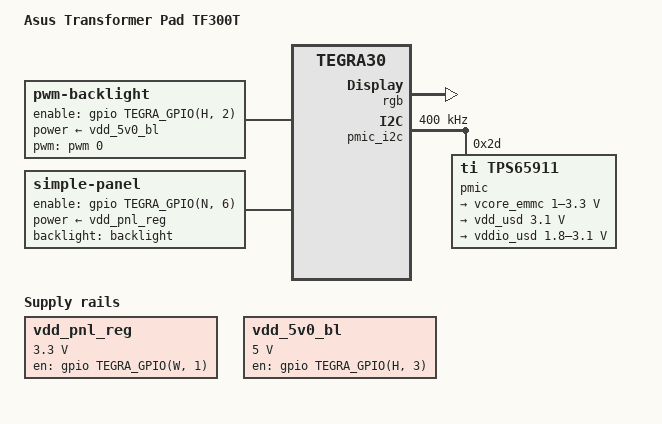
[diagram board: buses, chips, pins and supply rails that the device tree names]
// SPDX-License-Identifier: GPL-2.0-or-later
/dts-v1/;

#include <dt-bindings/input/gpio-keys.h>
#include <dt-bindings/input/linux-event-codes.h>

#include "tegra30-asus-transformer.dtsi"

/ {
	model = "Asus Transformer Pad TF300T";

	host1x@50000000 {
		status = "okay";
		dc@54200000 {
			status = "okay";
			rgb {
				status = "okay";

				nvidia,panel = <&panel>;

				display-timings {
					timing@0 {
						/* 1280x800@60Hz */
						clock-frequency = <68000000>;
						hactive = <1280>;
						vactive = <800>;
						hfront-porch = <48>;
						hback-porch = <18>;
						hsync-len = <30>;
						vsync-len = <5>;
						vfront-porch = <3>;
						vback-porch = <12>;
						hsync-active = <1>;
					};
				};
			};
		};
	};

	pmic_i2c: i2c@7000d000 {
		status = "okay";
		clock-frequency = <400000>;

		/* Texas Instruments TPS659110 PMIC */
		pmic: tps65911@2d {
			compatible = "ti,tps65911";
			reg = <0x2d>;

			interrupts = <GIC_SPI 86 IRQ_TYPE_LEVEL_HIGH>;
			#interrupt-cells = <2>;
			interrupt-controller;

			ti,system-power-controller;

			#gpio-cells = <2>;
			gpio-controller;

			regulators {
				/* eMMC VDD */
				vcore_emmc: ldo1 {
					regulator-name = "vdd_emmc_core";
					regulator-min-microvolt = <1000000>;
					regulator-max-microvolt = <3300000>;
					regulator-always-on;
				};

				/* uSD slot VDD */
				vdd_usd: ldo2 {
					regulator-name = "vdd_usd";
					regulator-min-microvolt = <3100000>;
					regulator-max-microvolt = <3100000>;
				};

				/* uSD slot VDDIO */
				vddio_usd: ldo3 {
					regulator-name = "vddio_usd";
					regulator-min-microvolt = <1800000>;
					regulator-max-microvolt = <3100000>;
				};
			};
		};
	};

	backlight: backlight {
		compatible = "pwm-backlight";

		enable-gpios = <&gpio TEGRA_GPIO(H, 2) GPIO_ACTIVE_HIGH>;
		power-supply = <&vdd_5v0_bl>;
		pwms = <&pwm 0 4000000>;

		brightness-levels = <0 4 8 16 32 64 128 255>;
		default-brightness-level = <6>;
	};

	gpio-keyboard {
		compatible = "gpio-kbd";

		power {
			label = "Power";
			gpios = <&gpio TEGRA_GPIO(V, 0) GPIO_ACTIVE_LOW>;
			linux,code = <KEY_ENTER>;
		};

		volume-up {
			label = "Volume Up";
			gpios = <&gpio TEGRA_GPIO(Q, 2) GPIO_ACTIVE_LOW>;
			linux,code = <KEY_UP>;
		};

		volume-down {
			label = "Volume Down";
			gpios = <&gpio TEGRA_GPIO(Q, 3) GPIO_ACTIVE_LOW>;
			linux,code = <KEY_DOWN>;
		};
	};

	panel: panel {
		compatible = "simple-panel";

		power-supply = <&vdd_pnl_reg>;
		enable-gpios = <&gpio TEGRA_GPIO(N, 6) GPIO_ACTIVE_HIGH>;

		backlight = <&backlight>;
	};

	regulators {
		compatible = "simple-bus";
		#address-cells = <1>;
		#size-cells = <0>;

		vdd_pnl_reg: regulator@0 {
			compatible = "regulator-fixed";
			reg = <0>;
			regulator-name = "vdd_panel";
			regulator-min-microvolt = <3300000>;
			regulator-max-microvolt = <3300000>;
			gpio = <&gpio TEGRA_GPIO(W, 1) GPIO_ACTIVE_HIGH>;
			enable-active-high;
		};

		vdd_5v0_bl: regulator@1 {
			compatible = "regulator-fixed";
			reg = <1>;
			regulator-name = "vdd_5v0_bl";
			regulator-min-microvolt = <5000000>;
			regulator-max-microvolt = <5000000>;
			regulator-boot-on;
			gpio = <&gpio TEGRA_GPIO(H, 3) GPIO_ACTIVE_HIGH>;
			enable-active-high;
		};
	};
};
